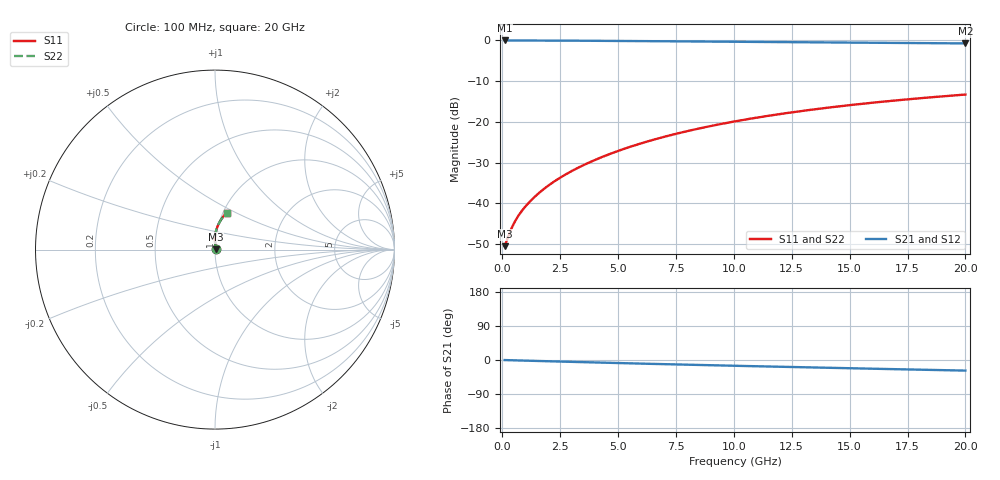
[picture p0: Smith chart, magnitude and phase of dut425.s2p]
! Touchstone file exported from HFSS 2024.1.0
!  File:  C:/UserFiles/LocalFiles/RDL_TSV_Batchsim/temp_RDL_bottom_425_1779683909.aedt
!  Generated:  12:41:04 PM May 25, 2026
!  Design:  RDL_bottom
!  Project:  temp_RDL_bottom_425_1779683909
!  Setup:  Setup1
!  Solution:  Sweep
! Variables:
!  dtsv = 10.80580581um
!  hbump = 3um
!  htsv = 95.68um
!  ldown = 422.38um
!  lrdl = 100um
!  p = 40
!  p1 = 42.46um
!  rhole = 1um
!  t = 450um
!  tdown = 2.3um
!  trdl = 3.915915916um
!  wdown = 26.77um
!  wrdl = 20um
# GHz S MA R 50.000000
! Terminal data exported
! Port[1] = RDL1_T1
! Port[2] = RDL1_T2
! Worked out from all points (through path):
!   200 points, 100 MHz to 20 GHz, reference 50 ohm
!   highest |S21| = -0.02 dB at 100 MHz (marker M1); lowest = -0.7 dB at 20 GHz (marker M2)
!   group delay of S21, straight-line fit = 3.84 ps
!   lowest |S11| = -50.5 dB at 100 MHz (marker M3), VSWR 1.01, Z = 50.3 + j0.102 ohm
!   |S11| at or under -10 dB: start of sweep to end of sweep
!   |S22| runs from -50.5 to -13.3 dB; largest |S21 - S12| = 2.6e-15
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0.1  0.002984 20.0  0.9972 -0.2  0.9972 -0.2  0.002984 20.0
! Gamma 0 0 0 0
! Port Impedance 50 0 50 0
0.3  0.00422 43.8  0.9969 -0.5  0.9969 -0.5  0.00422 43.8
0.4  0.004948 49.9  0.9967 -0.7  0.9967 -0.7  0.004948 49.9
0.5  0.005671 54.2  0.9965 -0.9  0.9965 -0.9  0.005671 54.2
0.6  0.006382 57.6  0.9963 -1.0  0.9963 -1.0  0.006381 57.6
0.7  0.007082 60.5  0.9961 -1.2  0.9961 -1.2  0.007082 60.5
0.9  0.008473 65.1  0.9958 -1.5  0.9958 -1.5  0.008473 65.1
1.2  0.01059 70.4  0.9953 -2.0  0.9953 -2.0  0.01059 70.4
1.7  0.01429 76.5  0.9943 -2.8  0.9943 -2.8  0.01429 76.5
2.2  0.01821 80.7  0.9932 -3.6  0.9932 -3.6  0.01821 80.7
2.8  0.0232 84.1  0.9916 -4.6  0.9916 -4.6  0.0232 84.1
3.5  0.0294 86.8  0.9894 -5.7  0.9894 -5.7  0.0294 86.8
4.2  0.03599 88.5  0.9869 -6.8  0.9869 -6.8  0.03599 88.5
5  0.04397 89.6  0.9836 -8.1  0.9836 -8.1  0.04398 89.6
5.9  0.05345 90.1  0.9798 -9.4  0.9798 -9.4  0.05346 90.1
6.8  0.06337 90.0  0.9757 -10.7  0.9757 -10.7  0.06339 90.0
8.4  0.0818 89.0  0.9682 -13.0  0.9682 -13.0  0.08182 89.0
10.1  0.102 87.0  0.9603 -15.3  0.9603 -15.3  0.102 87.1
11.7  0.1212 84.8  0.953 -17.5  0.953 -17.5  0.1212 84.9
13.4  0.1415 82.3  0.9454 -19.7  0.9454 -19.7  0.1415 82.3
16.7  0.1799 77.3  0.9311 -23.9  0.9311 -23.9  0.18 77.3
20  0.2163 72.3  0.9173 -28.0  0.9173 -28.0  0.2164 72.3
